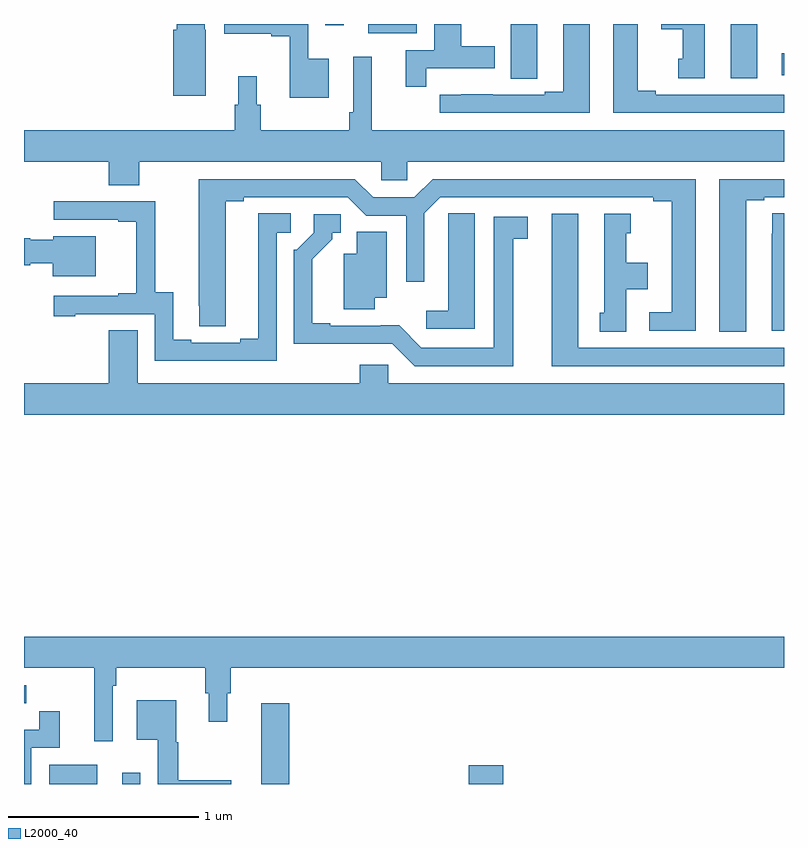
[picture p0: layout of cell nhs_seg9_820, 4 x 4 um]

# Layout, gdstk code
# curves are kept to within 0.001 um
import gdstk
lib = gdstk.Library(unit=1e-6, precision=1e-09)
def R(c, l, rs):  # rectangles x0, y0, x1, y1
    for r in rs: c.add(gdstk.rectangle(r[:2], r[2:], *l))
def P(c, l, *ps):  # polygons
    for p in ps: c.add(gdstk.Polygon(p, *l))
L2000_40 = (2000, 40)

nhs_seg9_820 = lib.new_cell('nhs_seg9_820')
R(nhs_seg9_820, L2000_40, [(155.132,1170.5,155.386,1170.601), (155.516,1170.5,155.613,1170.559), (156.248,1170.5,156.395,1170.925), (157.34,1170.5,157.523,1170.598), (155,1170.924,155.011,1171.02), (158.72,1174.215,158.86,1174.5), (158.988,1174.23,159,1174.346), (156.812,1174.451,157.066,1174.5), (156.585,1174.494,156.682,1174.5)])
P(nhs_seg9_820, L2000_40, [(157.978,1174.5),(157.838,1174.5),(157.838,1174.143),(157.742,1174.143),(157.742,1174.128),(157.466,1174.128),(157.466,1174.129),(157.3,1174.129),(157.3,1174.128),(157.188,1174.128),(157.188,1174.032),(157.978,1174.032)],
  [(155.956,1174.47),(155.95,1174.47),(155.95,1174.5),(155.804,1174.5),(155.804,1174.47),(155.786,1174.47),(155.786,1174.122),(155.956,1174.122)],
  [(156.604,1174.318),(156.495,1174.318),(156.495,1174.5),(156.054,1174.5),(156.054,1174.448),(156.302,1174.448),(156.302,1174.436),(156.398,1174.436),(156.398,1174.112),(156.604,1174.112)],
  [(157.701,1174.321),(157.702,1174.321),(157.702,1174.5),(157.562,1174.5),(157.562,1174.213),(157.701,1174.213)],
  [(157.118,1174.266),(157.477,1174.266),(157.477,1174.383),(157.3,1174.383),(157.3,1174.5),(157.16,1174.5),(157.16,1174.362),(157.01,1174.362),(157.01,1174.17),(157.118,1174.17)],
  [(158.584,1174.5),(158.354,1174.5),(158.354,1174.472),(158.468,1174.472),(158.468,1174.317),(158.444,1174.317),(158.444,1174.215),(158.584,1174.215)],
  [(159,1174.128),(158.326,1174.128),(158.326,1174.148),(158.23,1174.148),(158.23,1174.5),(158.102,1174.5),(158.102,1174.032),(159,1174.032)],
  [(155.607,1173.776),(156.879,1173.776),(156.879,1173.678),(157.017,1173.678),(157.017,1173.776),(159,1173.776),(159,1173.94),(156.83,1173.94),(156.83,1174.327),(156.732,1174.327),(156.732,1174.036),(156.712,1174.036),(156.712,1173.94),(156.245,1173.94),(156.245,1174.074),(156.226,1174.074),(156.226,1174.225),(156.128,1174.225),(156.128,1174.074),(156.109,1174.074),(156.109,1173.94),(155,1173.94),(155,1173.776),(155.447,1173.776),(155.447,1173.652),(155.607,1173.652)],
  [(158.8,1173.573),(158.896,1173.573),(158.896,1173.588),(159,1173.588),(159,1173.684),(158.66,1173.684),(158.66,1172.881),(158.8,1172.881)],
  [(158.536,1173.684),(157.151,1173.684),(157.055,1173.588),(156.837,1173.588),(156.741,1173.684),(155.921,1173.684),(155.922,1172.908),(156.061,1172.908),(156.061,1173.568),(156.157,1173.568),(156.157,1173.588),(156.705,1173.588),(156.801,1173.492),(157.011,1173.492),(157.011,1173.144),(157.107,1173.144),(157.107,1173.504),(157.191,1173.588),(158.312,1173.588),(158.312,1173.568),(158.408,1173.568),(158.408,1172.982),(158.292,1172.982),(158.292,1172.886),(158.536,1172.886)],
  [(156.33,1173.402),(156.403,1173.402),(156.403,1173.503),(156.233,1173.503),(156.233,1172.843),(156.137,1172.843),(156.137,1172.823),(155.881,1172.823),(155.881,1172.838),(155.785,1172.838),(155.785,1173.089),(155.691,1173.089),(155.691,1173.567),(155.157,1173.567),(155.157,1173.471),(155.495,1173.471),(155.495,1173.459),(155.591,1173.459),(155.591,1173.082),(155.495,1173.082),(155.495,1173.069),(155.157,1173.069),(155.157,1172.961),(155.269,1172.961),(155.269,1172.973),(155.688,1172.973),(155.688,1172.727),(156.33,1172.727)],
  [(159,1173.503),(158.937,1173.503),(158.937,1173.395),(158.936,1173.395),(158.936,1172.885),(159,1172.885)],
  [(157.372,1173.503),(157.233,1173.503),(157.233,1173.395),(157.232,1173.395),(157.232,1172.992),(157.116,1172.992),(157.116,1172.895),(157.372,1172.895)],
  [(158.17,1173.104),(158.284,1173.104),(158.284,1173.244),(158.17,1173.244),(158.17,1173.399),(158.194,1173.399),(158.194,1173.502),(158.054,1173.502),(158.054,1172.979),(158.03,1172.979),(158.03,1172.881),(158.17,1172.881)],
  [(159,1172.796),(157.918,1172.796),(157.918,1173.502),(157.778,1173.502),(157.778,1172.7),(159,1172.7)],
  [(157.576,1173.37),(157.651,1173.37),(157.651,1173.486),(157.472,1173.486),(157.472,1172.796),(157.092,1172.796),(156.974,1172.914),(156.613,1172.913),(156.613,1172.926),(156.517,1172.926),(156.517,1173.262),(156.622,1173.367),(156.622,1173.402),(156.667,1173.402),(156.667,1173.498),(156.525,1173.498),(156.525,1173.402),(156.435,1173.312),(156.42,1173.312),(156.42,1172.816),(156.939,1172.817),(157.056,1172.7),(157.576,1172.7)],
  [(156.847,1173.059),(156.91,1173.059),(156.91,1173.407),(156.752,1173.407),(156.752,1173.292),(156.683,1173.292),(156.683,1172.998),(156.847,1172.998)],
  [(155.377,1173.382),(155.154,1173.382),(155.154,1173.364),(155.034,1173.364),(155.034,1173.372),(155,1173.372),(155,1173.23),(155.034,1173.23),(155.034,1173.242),(155.15,1173.242),(155.15,1173.173),(155.377,1173.173)],
  [(159,1172.608),(156.918,1172.608),(156.918,1172.706),(156.767,1172.706),(156.767,1172.608),(155.599,1172.608),(155.599,1172.888),(155.447,1172.888),(155.447,1172.608),(155,1172.608),(155,1172.444),(159,1172.444)],
  [(155.466,1171.016),(155.486,1171.016),(155.486,1171.112),(155.953,1171.112),(155.953,1170.978),(155.972,1170.978),(155.972,1170.828),(156.07,1170.828),(156.07,1170.978),(156.089,1170.978),(156.089,1171.112),(159,1171.112),(159,1171.276),(155,1171.276),(155,1171.112),(155.369,1171.112),(155.369,1170.726),(155.466,1170.726)],
  [(156.091,1170.521),(155.812,1170.521),(155.812,1170.72),(155.8,1170.72),(155.8,1170.94),(155.594,1170.94),(155.594,1170.734),(155.703,1170.734),(155.703,1170.5),(156.091,1170.5)],
  [(155.038,1170.69),(155.189,1170.69),(155.189,1170.883),(155.08,1170.883),(155.08,1170.786),(155,1170.786),(155,1170.5),(155.038,1170.5)])

lib.write_gds('nhs_seg9_820.gds')
